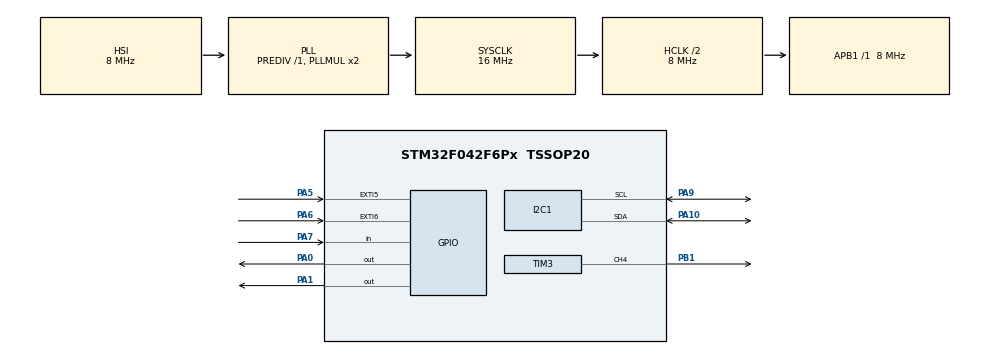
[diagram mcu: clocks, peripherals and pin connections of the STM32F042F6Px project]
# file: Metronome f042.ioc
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Mcu.Family=STM32F0
Mcu.Name=STM32F042F6Px
Mcu.Package=TSSOP20
NVIC.EXTI4_15_IRQn=true\:0\:0\:false\:false\:true\:true\:true
PA0.GPIO_PuPd=GPIO_PULLDOWN
PA0.Signal=GPIO_Output
PA1.GPIO_PuPd=GPIO_PULLDOWN
PA1.Signal=GPIO_Output
PA10.Mode=I2C
PA10.Signal=I2C1_SDA
PA13.Mode=Serial_Wire
PA13.Signal=SYS_SWDIO
PA14.Mode=Serial_Wire
PA14.Signal=SYS_SWCLK
PA5.GPIO_ModeDefaultEXTI=GPIO_MODE_IT_RISING_FALLING
PA5.GPIO_PuPd=GPIO_PULLDOWN
PA5.Signal=GPXTI5
PA6.GPIO_ModeDefaultEXTI=GPIO_MODE_IT_RISING_FALLING
PA6.GPIO_PuPd=GPIO_PULLDOWN
PA6.Signal=GPXTI6
PA7.GPIO_PuPd=GPIO_PULLDOWN
PA7.Signal=GPIO_Input
PA9.Mode=I2C
PA9.Signal=I2C1_SCL
PB1.Signal=S_TIM3_CH4
PF0-OSC_IN.Mode=HSE-External-Oscillator
PF0-OSC_IN.Signal=RCC_OSC_IN
PF1-OSC_OUT.Mode=HSE-External-Oscillator
PF1-OSC_OUT.Signal=RCC_OSC_OUT
ProjectManager.HeapSize=0x200
ProjectManager.StackSize=0x400
ProjectManager.TargetToolchain=MDK-ARM V5
RCC.AHBCLKDivider=RCC_SYSCLK_DIV2
RCC.AHBFreq_Value=8000000
RCC.APB1Freq_Value=8000000
RCC.APB1TimFreq_Value=8000000
RCC.HCLKFreq_Value=8000000
RCC.SYSCLKFreq_VALUE=16000000
RCC.SYSCLKSource=RCC_SYSCLKSOURCE_PLLCLK
SH.S_TIM3_CH4.0=TIM3_CH4,PWM Generation4 CH4
TIM3.Channel-PWM\ Generation4\ CH4=TIM_CHANNEL_4
TIM3.OCFastMode_PWM-PWM\ Generation4\ CH4=TIM_OCFAST_ENABLE
TIM3.Period=10000
VP_TIM3_VS_ClockSourceINT.Mode=Internal
board=custom

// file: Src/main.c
/* USER CODE BEGIN Header */
/**
  ******************************************************************************
  * @file           : main.c
  * @brief          : Main program body
  ******************************************************************************
  * @attention
  *
  * <h2><center>&copy; Copyright (c) 2019 STMicroelectronics.
  * All rights reserved.</center></h2>
  *
  * This software component is licensed by ST under BSD 3-Clause license,
  * the "License"; You may not use this file except in compliance with the
  * License. You may obtain a copy of the License at:
  *                        opensource.org/licenses/BSD-3-Clause
  *
  ******************************************************************************
  */
/* USER CODE END Header */

#include "main.h"

/* USER CODE BEGIN Includes */
#include "lcd.h"
#define PAGE_ADRESS 0x08007C00
/* USER CODE END Includes */

/* USER CODE BEGIN PTD */
typedef struct
{
	uint16_t Flag; 		// first start flag
	char number[2];		// = {"01"};
	uint16_t size;		// = 2;
	uint16_t speed;		// = 200;
	char Name[16];// = {"NAME !"}
	} N;
/* USER CODE END PTD */

/* USER CODE BEGIN PD */

uint16_t SpeedBPM = 200;
int8_t	NumberPage = 0;
volatile uint8_t FlagButt2 = 0, FlagButt1 = 0;
							// 2 == right button	1 == left button
uint8_t FlagButton2 = 0, FlagButton1 = 0;

/* USER CODE END PD */

/* USER CODE BEGIN PM */
union FlashMem
	{
		N page[20];
		uint32_t FlashMass[120];
	}ForFlash;

/* USER CODE END PM */

I2C_HandleTypeDef hi2c1;

TIM_HandleTypeDef htim3;

/* USER CODE BEGIN PV */
void BPMmaster (int Bpm)
{
	uint32_t TimeBTic = (1000*60)/Bpm;
	static uint32_t speed =0;
	static uint8_t BeebOn = 0, SetSettings = 0;
	static uint32_t pic, SizeCounter = 0;
	const uint32_t PicTime = 50;
	static uint16_t LedPin = GPIO_PIN_1;
	if (SizeCounter > ForFlash.page[NumberPage].size)SizeCounter = 0;

	if (SizeCounter != ForFlash.page[NumberPage].size  && BeebOn == 0 && SetSettings == 0)
		{
			//SizeCounter = 0;
			TIM3->CCR4 = 2000;//2000;	// x2  = 8192;
			//htim3.Init.Period = 8000;//4000;
			LedPin = GPIO_PIN_1;
			SetSettings = 1;

		}
		if(SizeCounter == ForFlash.page[NumberPage].size  && BeebOn == 0 && SetSettings == 0)
		{
			TIM3->CCR4 = 5000;	// x2  = 8192;
			//htim3.Init.Period = 32000;
			SizeCounter = 0;
			LedPin = GPIO_PIN_0;
			SetSettings = 1;
		}

	if (speed < HAL_GetTick())
		{
			speed = TimeBTic + HAL_GetTick();
			pic = HAL_GetTick() + PicTime;
			HAL_GPIO_WritePin (GPIOA, LedPin, GPIO_PIN_SET);   //	beeb
			HAL_TIM_PWM_Start (&htim3, TIM_CHANNEL_4);
			BeebOn = 1;
			SizeCounter++;
			SetSettings = 0;
		}

	if (HAL_GetTick() > pic)
		{
			//HAL_GPIO_WritePin (GPIOA, GPIO_PIN_12, GPIO_PIN_RESET);
			HAL_GPIO_WritePin (GPIOA, LedPin, GPIO_PIN_RESET);
			HAL_TIM_PWM_Stop (&htim3, TIM_CHANNEL_4);

			BeebOn = 0;
		}
}

////////////////////////////////////
  // functions Button Handling
uint8_t ButtonHendler22 (uint8_t  FlagButton22)
{
	static uint16_t FirstCounter22 = 0, SecondCounter22 = 0; //65535
	uint8_t ButtonSatus22 = 0;
	static uint8_t NotUnpush22;

	// Noize Protections section
	if (FlagButton22 == 1) FirstCounter22++;
	if (FlagButton22 == 0) FirstCounter22--;

	if (FirstCounter22 > 20)
		{
			ButtonSatus22 = 1;
			FirstCounter22 = 20;
		}
	if (FirstCounter22 < 1)
		{
			ButtonSatus22 = 0;
			FirstCounter22 = 1;
		}

	if (NotUnpush22 == 1 && ButtonSatus22 == 0) NotUnpush22 = 0;

	// Handling delay presure
	if (NotUnpush22 == 0)
	{
		if (ButtonSatus22 == 1) SecondCounter22++;

		if (SecondCounter22 > 300 && ButtonSatus22 == 1)
			{
				SecondCounter22 = 0;
				NotUnpush22 = 1;
				return 2; // long push
			}
		else if (SecondCounter22 > 0 && ButtonSatus22 != 1)
			{
				SecondCounter22 = 0;
				NotUnpush22 = 1;
				return 1; // short push
			}
	}
	return 0;
}

////////////////////////////////////
uint8_t ButtonHendler11 (uint8_t  FlagButton11)
{
	static uint16_t FirstCounter11 = 0, SecondCounter11 = 0; //65535
	uint8_t ButtonSatus11 = 0;
	static uint8_t NotUnpush11;

	// Noize Protections section
	if (FlagButton11 == 1) FirstCounter11++;
	if (FlagButton11 == 0) FirstCounter11--;

	if (FirstCounter11 > 20)
		{
			ButtonSatus11 = 1;
			FirstCounter11 = 20;
		}
	if (FirstCounter11 < 1)
		{
			ButtonSatus11 = 0;
			FirstCounter11 = 1;
		}

	if (NotUnpush11 == 1 && ButtonSatus11 == 0) NotUnpush11 = 0;

	// Handling delay presure
	if (NotUnpush11 == 0)
	{
		if (ButtonSatus11 == 1) SecondCounter11++;

		if (SecondCounter11 > 300 && ButtonSatus11 == 1)
			{
				SecondCounter11 = 0;
				NotUnpush11 = 1;
				return 2; // long push
			}
		else if (SecondCounter11 > 0 && ButtonSatus11 != 1)
			{
				SecondCounter11 = 0;
				NotUnpush11 = 1;
				return 1; // short push
			}
	}
	return 0;
}

////////////////////////////////////
uint8_t ButtonHendler1 (uint8_t  FlagButton)
{
	static uint16_t FirstCounter1 = 0, SecondCounter1 = 0; //65535
	uint8_t ButtonSatus1 = 0;
	static uint8_t NotUnpush1;

	// Noize Protections section
	if (FlagButton == 1) FirstCounter1++;
	if (FlagButton == 0) FirstCounter1--;

	if (FirstCounter1 > 5)
		{
			ButtonSatus1 = 1;
			FirstCounter1 = 5;
		}
	if (FirstCounter1 < 1)
		{
			ButtonSatus1 = 0;
			FirstCounter1 = 1;
		}

	if (NotUnpush1 == 1 && ButtonSatus1 == 0) NotUnpush1 = 0;

	// Handling delay presure
	if (NotUnpush1 == 0)
	{
		if (ButtonSatus1 == 1) SecondCounter1++;

		if (SecondCounter1 > 30 && ButtonSatus1 == 1)
			{
				SecondCounter1 = 0;
				NotUnpush1 = 1;
				return 2; // long push
			}
		else if (SecondCounter1 > 0 && ButtonSatus1 != 1)
			{
				SecondCounter1 = 0;
				NotUnpush1 = 1;
				return 1; // short push
			}
	}
	return 0;
}
////////////////////////////////////

uint8_t ButtonHendler2 (uint8_t  FlagButton)
{
	static uint16_t FirstCounter = 0, SecondCounter = 0; //65535
	uint8_t ButtonSatus = 0;
	static uint8_t NotUnpush;

	// Noize Protections section
	if (FlagButton == 1) FirstCounter++;
	if (FlagButton == 0) FirstCounter--;

	if (FirstCounter > 5)
		{
			ButtonSatus = 1;
			FirstCounter = 5;
		}
	if (FirstCounter < 1)
		{
			ButtonSatus = 0;
			FirstCounter = 1;
		}

	if (NotUnpush == 1 && ButtonSatus == 0) NotUnpush = 0;

	// Handling delay presure
	if (NotUnpush == 0)
	{
		if (ButtonSatus == 1) SecondCounter++;

		if (SecondCounter > 30 && ButtonSatus == 1)
			{
				SecondCounter = 0;
				NotUnpush = 1;
				return 2; // long push
			}
		else if (SecondCounter > 0 && ButtonSatus != 1)
			{
				SecondCounter = 0;
				NotUnpush = 1;
				return 1; // short push
			}
	}
	return 0;
}
////////////////////////////////////

void ProgramMode (uint8_t Flagbutton1,uint8_t Flagbutton2)
{
	uint8_t MassPosition[17][2] ={{5,0},{0,1},{1,1},{2,1},{3,1},{4,1},{5,1},{6,1},{7,1},
																{8,1},{9,1},{10,1},{11,1},{12,1},{13,1},{14,1},{15,1}};
	static int8_t CursorPosition = 0, OldCursorPosition = 0;

	// Set cursor location
	if (Flagbutton2 == 2) CursorPosition++;
	if (Flagbutton1 == 2) CursorPosition--;
	//set rnge
	if (CursorPosition > 17) CursorPosition = 0;
  if (CursorPosition < 0) CursorPosition = 17;

  // Set settings Size
	if (CursorPosition == 0)
	{
		if (Flagbutton2 == 1) ForFlash.page[NumberPage].size = ForFlash.page[NumberPage].size+1;
		if (Flagbutton1 == 1) ForFlash.page[NumberPage].size = ForFlash.page[NumberPage].size-1;
		//set rnge
		if (ForFlash.page[NumberPage].size < 2) ForFlash.page[NumberPage].size = 4;
		if (ForFlash.page[NumberPage].size > 4) ForFlash.page[NumberPage].size = 2;
	}

	// Set settings Name
	if (CursorPosition > 0)
	{
		char CharOnDisplay = ForFlash.page[NumberPage].Name[CursorPosition - 1];
		if (FlagButton2 == 1)CharOnDisplay++;
		if (FlagButton1 == 1)CharOnDisplay--;
		if (CharOnDisplay > 95) CharOnDisplay = 65;
		if (CharOnDisplay < 65) CharOnDisplay = 95;
		ForFlash.page[NumberPage].Name[CursorPosition - 1] = CharOnDisplay;
	}
			//function show position curosr
	LCD_SetPos (MassPosition[CursorPosition][0], MassPosition[CursorPosition][1]);
	static uint32_t pic;
	const uint32_t PicTime = 500;

	if (pic < HAL_GetTick())
		{
			pic = HAL_GetTick() + PicTime;
			static uint8_t toggle = 0;
			if (toggle == 0)
			{
				OldCursorPosition = CursorPosition;
				LCD_SendChar(32);
				toggle = 1;
				pic -= 300;
			}
			else
			{
				if (CursorPosition == 0)
				{
					char st1[1] ;
					sprintf(st1, "%d", ForFlash.page[NumberPage].size);
					LCD_String(st1);
				}
				if (CursorPosition > 0)
				{
				LCD_SendChar(ForFlash.page[NumberPage].Name[CursorPosition - 1]);
				}
				toggle = 0;
			}

		}
		if (OldCursorPosition != CursorPosition)
		{
			LCD_SetPos (5, 0);
						char st11[1] ;
						sprintf(st11, "%d", ForFlash.page[NumberPage].size);
						LCD_String(st11);
			LCD_SetPos (0, 1);
			LCD_String(ForFlash.page[NumberPage].Name);
			LCD_SetPos (MassPosition[CursorPosition][0], MassPosition[CursorPosition][1]);
		}

}

/////////////////////////////////////////////////////
uint8_t ControlToggle (GPIO_PinState status)
{
	static uint8_t LastStatusToggle = 0;
	// Noize Protections section
	uint8_t ToggleStatus = 0;
	static uint16_t FirstCounter = 0;

	if (status == GPIO_PIN_SET) FirstCounter++;
	if (status == GPIO_PIN_RESET) FirstCounter--;

	if (FirstCounter > 5)
		{ // filter noize
			ToggleStatus = 1;
			FirstCounter = 5;
			LastStatusToggle = 1;
		}
		if (FirstCounter < 1 && LastStatusToggle == 1)
		{	//rewrite flash
						FLASH_EraseInitTypeDef EraseInitStruct;
						EraseInitStruct.TypeErase=FLASH_TYPEERASE_PAGES;
						EraseInitStruct.NbPages=0x01;
						EraseInitStruct.PageAddress=PAGE_ADRESS;

						uint32_t PAGEError = 1;

						HAL_FLASH_Unlock();
						HAL_FLASHEx_Erase(&EraseInitStruct, &PAGEError);

							uint32_t adress = PAGE_ADRESS;
							uint8_t index = 0;
							while(index <= 120)
							{
								if(HAL_FLASH_Program(FLASH_TYPEPROGRAM_WORD, adress, ForFlash.FlashMass[index])== HAL_OK)
								{
									adress += 4;
									index++;
								}
							}
						HAL_FLASH_Lock();

		}

	if (FirstCounter < 1)
		{
			ToggleStatus = 0;
			FirstCounter = 1;
			LastStatusToggle = 0;
		}
return ToggleStatus;
}

/* USER CODE END PV */

void SystemClock_Config(void);
static void MX_GPIO_Init(void);
static void MX_I2C1_Init(void);
static void MX_TIM3_Init(void);

int main(void)
{
  /* USER CODE BEGIN 1 */
	//fillet stucture for Erase function
		 FLASH_EraseInitTypeDef EraseInitStruct;
	   EraseInitStruct.TypeErase=FLASH_TYPEERASE_PAGES;
     EraseInitStruct.NbPages=0x01;
     EraseInitStruct.PageAddress=PAGE_ADRESS;

		uint32_t PAGEError = 1;

	// read data from flash
		 uint32_t adress = PAGE_ADRESS;
		 char index = 0;
			while(index <= 120)
			{
					ForFlash.FlashMass[index]	= *(__IO uint32_t*) adress;
					adress += 4;
					index++;
			}

// checking for matching arrays
	if (ForFlash.page[0].Flag != 19)
{
		for (char i = 0; i<=20; i++)
		{
			// plased structures
	    char *localpointer = "________________";
			char ar[2] = {'0','0'};
			sprintf(ar, "%d", i+1);
				ForFlash.page[i].number[0] = ar[0];
				ForFlash.page[i].number[1] = ar[1];
				ForFlash.page[i].size = 2;
				ForFlash.page[i].speed = 200;
				ForFlash.page[i].Flag = 19;

			for (char j=0; j<16; j++)
			ForFlash.page[i].Name[j] = *localpointer++;

			// write structure in flash

		HAL_FLASH_Unlock();
		HAL_FLASHEx_Erase(&EraseInitStruct, &PAGEError);

			 adress = PAGE_ADRESS;
			 index = 0;
			while(index <= 120)
			{
				if(HAL_FLASH_Program(FLASH_TYPEPROGRAM_WORD, adress, ForFlash.FlashMass[index])== HAL_OK)
				{
					adress += 4;
					index++;
				}
			}
		HAL_FLASH_Lock();
		}
}
  /* USER CODE END 1 */

  /* MCU Configuration--------------------------------------------------------*/

  /* Reset of all peripherals, Initializes the Flash interface and the Systick. */
  HAL_Init();

  /* Configure the system clock */
  SystemClock_Config();

  /* Initialize all configured peripherals */
  MX_GPIO_Init();
  MX_I2C1_Init();
  MX_TIM3_Init();
  /* USER CODE BEGIN 2 */
	LCD_ini();
	HAL_Delay(50);

	 // make mask for  LCD
	LCD_SetPos(0, 0);
	char ch = 'N';
	LCD_SendChar(ch);
	LCD_String(ForFlash.page[0].number);
	LCD_SetPos(5, 0);
	char ar1[1] ;
	sprintf(ar1, "%d", ForFlash.page[0].size);
	LCD_String(ar1);
	LCD_String("/4  ");
	char ar3[3];
	sprintf(ar3, "%d", SpeedBPM);
	LCD_String(ar3);
	LCD_String("bpm");
	LCD_SetPos(0 ,1 );
	LCD_String(ForFlash.page[0].Name);

//	HAL_TIM_PWM_Start (&htim2, TIM_CHANNEL_4);
  /* USER CODE END 2 */

  /* Infinite loop */
  /* USER CODE BEGIN WHILE */
  while (1)
  {
		SpeedBPM = ForFlash.page[NumberPage].speed;
		BPMmaster(SpeedBPM);
		uint8_t Toggle = ControlToggle(HAL_GPIO_ReadPin(GPIOA, GPIO_PIN_7));
		//program mode
			//program mode
		if (Toggle == 1)
		{
				FlagButton1 = ButtonHendler11(FlagButt1);
				FlagButton2 = ButtonHendler22(FlagButt2);

			ProgramMode(FlagButton1, FlagButton2 );

		}
	 // Standart mode
		if (Toggle == 0)
		{
				FlagButton1 = ButtonHendler1(FlagButt1);
				FlagButton2 = ButtonHendler2(FlagButt2);

			if ( FlagButton2 == 1) ForFlash.page[NumberPage].speed++;
			if ( FlagButton2 == 2)
				{
					NumberPage++;
					LCD_SetPos(0 ,1 );
					LCD_String(ForFlash.page[NumberPage].Name);

				}
			if ( FlagButton1 == 1) ForFlash.page[NumberPage].speed--;
			if ( FlagButton1 == 2)
				{
					NumberPage--;
					LCD_SetPos(0 ,1 );
					LCD_String(ForFlash.page[NumberPage].Name);
					if (NumberPage < 10) LCD_SendChar(32);
				}
			if ( NumberPage > 19) NumberPage = 0;
			if ( NumberPage < 0) NumberPage = 19;

			LCD_SetPos(5 ,0 );
			char ar1[1];
			sprintf(ar1, "%d", ForFlash.page[NumberPage].size);
			LCD_String(ar1);
			LCD_SetPos(10, 0);
				if (ForFlash.page[NumberPage].speed < 100) LCD_SendChar(32);
			char ar3[3];
			sprintf(ar3, "%d", ForFlash.page[NumberPage].speed);
			LCD_String(ar3);

			LCD_SetPos(1, 0);
			LCD_String(ForFlash.page[NumberPage].number);
			if (NumberPage < 10) LCD_SendChar(32);
		}

    /* USER CODE END WHILE */

  }
}

void SystemClock_Config(void)
{
  RCC_OscInitTypeDef RCC_OscInitStruct = {0};
  RCC_ClkInitTypeDef RCC_ClkInitStruct = {0};
  RCC_PeriphCLKInitTypeDef PeriphClkInit = {0};

  /** Initializes the CPU, AHB and APB busses clocks
  */
  RCC_OscInitStruct.OscillatorType = RCC_OSCILLATORTYPE_HSI;
  RCC_OscInitStruct.HSIState = RCC_HSI_ON;
  RCC_OscInitStruct.HSICalibrationValue = RCC_HSICALIBRATION_DEFAULT;
  RCC_OscInitStruct.PLL.PLLState = RCC_PLL_ON;
  RCC_OscInitStruct.PLL.PLLSource = RCC_PLLSOURCE_HSI;
  RCC_OscInitStruct.PLL.PLLMUL = RCC_PLL_MUL2;
  RCC_OscInitStruct.PLL.PREDIV = RCC_PREDIV_DIV1;
  if (HAL_RCC_OscConfig(&RCC_OscInitStruct) != HAL_OK)
  {
    Error_Handler();
  }
  /** Initializes the CPU, AHB and APB busses clocks
  */
  RCC_ClkInitStruct.ClockType = RCC_CLOCKTYPE_HCLK|RCC_CLOCKTYPE_SYSCLK
                              |RCC_CLOCKTYPE_PCLK1;
  RCC_ClkInitStruct.SYSCLKSource = RCC_SYSCLKSOURCE_PLLCLK;
  RCC_ClkInitStruct.AHBCLKDivider = RCC_SYSCLK_DIV2;
  RCC_ClkInitStruct.APB1CLKDivider = RCC_HCLK_DIV1;

  if (HAL_RCC_ClockConfig(&RCC_ClkInitStruct, FLASH_LATENCY_0) != HAL_OK)
  {
    Error_Handler();
  }
  PeriphClkInit.PeriphClockSelection = RCC_PERIPHCLK_I2C1;
  PeriphClkInit.I2c1ClockSelection = RCC_I2C1CLKSOURCE_HSI;
  if (HAL_RCCEx_PeriphCLKConfig(&PeriphClkInit) != HAL_OK)
  {
    Error_Handler();
  }
}

static void MX_I2C1_Init(void)
{

  hi2c1.Instance = I2C1;
  hi2c1.Init.Timing = 0x2000090E;
  hi2c1.Init.OwnAddress1 = 0;
  hi2c1.Init.AddressingMode = I2C_ADDRESSINGMODE_7BIT;
  hi2c1.Init.DualAddressMode = I2C_DUALADDRESS_DISABLE;
  hi2c1.Init.OwnAddress2 = 0;
  hi2c1.Init.OwnAddress2Masks = I2C_OA2_NOMASK;
  hi2c1.Init.GeneralCallMode = I2C_GENERALCALL_DISABLE;
  hi2c1.Init.NoStretchMode = I2C_NOSTRETCH_DISABLE;
  if (HAL_I2C_Init(&hi2c1) != HAL_OK)
  {
    Error_Handler();
  }
  /** Configure Analogue filter
  */
  if (HAL_I2CEx_ConfigAnalogFilter(&hi2c1, I2C_ANALOGFILTER_ENABLE) != HAL_OK)
  {
    Error_Handler();
  }
  /** Configure Digital filter
  */
  if (HAL_I2CEx_ConfigDigitalFilter(&hi2c1, 0) != HAL_OK)
  {
    Error_Handler();
  }

}

static void MX_TIM3_Init(void)
{

  TIM_ClockConfigTypeDef sClockSourceConfig = {0};
  TIM_MasterConfigTypeDef sMasterConfig = {0};
  TIM_OC_InitTypeDef sConfigOC = {0};

  htim3.Instance = TIM3;
  htim3.Init.Prescaler = 0;
  htim3.Init.CounterMode = TIM_COUNTERMODE_UP;
  htim3.Init.Period = 10000;
  htim3.Init.ClockDivision = TIM_CLOCKDIVISION_DIV1;
  htim3.Init.AutoReloadPreload = TIM_AUTORELOAD_PRELOAD_DISABLE;
  if (HAL_TIM_Base_Init(&htim3) != HAL_OK)
  {
    Error_Handler();
  }
  sClockSourceConfig.ClockSource = TIM_CLOCKSOURCE_INTERNAL;
  if (HAL_TIM_ConfigClockSource(&htim3, &sClockSourceConfig) != HAL_OK)
  {
    Error_Handler();
  }
  if (HAL_TIM_PWM_Init(&htim3) != HAL_OK)
  {
    Error_Handler();
  }
  sMasterConfig.MasterOutputTrigger = TIM_TRGO_RESET;
  sMasterConfig.MasterSlaveMode = TIM_MASTERSLAVEMODE_DISABLE;
  if (HAL_TIMEx_MasterConfigSynchronization(&htim3, &sMasterConfig) != HAL_OK)
  {
    Error_Handler();
  }
  sConfigOC.OCMode = TIM_OCMODE_PWM1;
  sConfigOC.Pulse = 0;
  sConfigOC.OCPolarity = TIM_OCPOLARITY_HIGH;
  sConfigOC.OCFastMode = TIM_OCFAST_ENABLE;
  if (HAL_TIM_PWM_ConfigChannel(&htim3, &sConfigOC, TIM_CHANNEL_4) != HAL_OK)
  {
    Error_Handler();
  }
  HAL_TIM_MspPostInit(&htim3);

}

static void MX_GPIO_Init(void)
{
  GPIO_InitTypeDef GPIO_InitStruct = {0};

  /* GPIO Ports Clock Enable */
  __HAL_RCC_GPIOF_CLK_ENABLE();
  __HAL_RCC_GPIOA_CLK_ENABLE();
  __HAL_RCC_GPIOB_CLK_ENABLE();

  /*Configure GPIO pin Output Level */
  HAL_GPIO_WritePin(GPIOA, GPIO_PIN_0|GPIO_PIN_1, GPIO_PIN_RESET);

  /*Configure GPIO pins : PA0 PA1 */
  GPIO_InitStruct.Pin = GPIO_PIN_0|GPIO_PIN_1;
  GPIO_InitStruct.Mode = GPIO_MODE_OUTPUT_PP;
  GPIO_InitStruct.Pull = GPIO_PULLDOWN;
  GPIO_InitStruct.Speed = GPIO_SPEED_FREQ_LOW;
  HAL_GPIO_Init(GPIOA, &GPIO_InitStruct);

  /*Configure GPIO pins : PA5 PA6 */
  GPIO_InitStruct.Pin = GPIO_PIN_5|GPIO_PIN_6;
  GPIO_InitStruct.Mode = GPIO_MODE_IT_RISING_FALLING;
  GPIO_InitStruct.Pull = GPIO_PULLDOWN;
  HAL_GPIO_Init(GPIOA, &GPIO_InitStruct);

  /*Configure GPIO pin : PA7 */
  GPIO_InitStruct.Pin = GPIO_PIN_7;
  GPIO_InitStruct.Mode = GPIO_MODE_INPUT;
  GPIO_InitStruct.Pull = GPIO_PULLDOWN;
  HAL_GPIO_Init(GPIOA, &GPIO_InitStruct);

  /* EXTI interrupt init*/
  HAL_NVIC_SetPriority(EXTI4_15_IRQn, 0, 0);
  HAL_NVIC_EnableIRQ(EXTI4_15_IRQn);

}

void Error_Handler(void)
{
}

/************************ (C) COPYRIGHT STMicroelectronics *****END OF FILE****/
